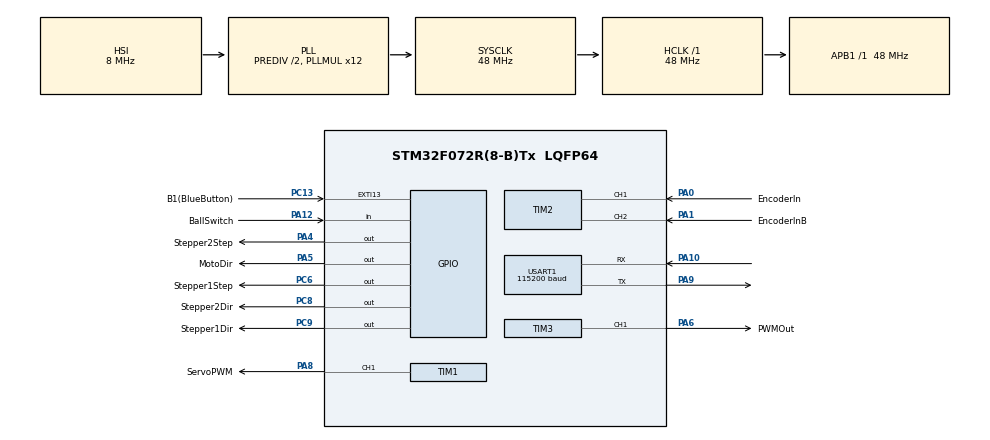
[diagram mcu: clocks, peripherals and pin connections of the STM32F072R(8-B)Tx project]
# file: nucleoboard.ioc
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Dma.Request0=USART1_RX
Dma.USART1_RX.0.Direction=DMA_PERIPH_TO_MEMORY
Dma.USART1_RX.0.Instance=DMA1_Channel3
Dma.USART1_RX.0.MemDataAlignment=DMA_MDATAALIGN_BYTE
Dma.USART1_RX.0.MemInc=DMA_MINC_ENABLE
Dma.USART1_RX.0.Mode=DMA_CIRCULAR
Dma.USART1_RX.0.PeriphDataAlignment=DMA_PDATAALIGN_BYTE
Dma.USART1_RX.0.PeriphInc=DMA_PINC_DISABLE
Dma.USART1_RX.0.Priority=DMA_PRIORITY_LOW
Mcu.Family=STM32F0
Mcu.Name=STM32F072R(8-B)Tx
Mcu.Package=LQFP64
NVIC.DMA1_Channel2_3_IRQn=true\:0\:0\:false\:false\:true\:false\:true\:true
NVIC.EXTI4_15_IRQn=true\:0\:0\:false\:false\:true\:true\:true\:true
PA0.GPIO_Label=EncoderIn
PA0.GPIO_ModeDefaultPP=GPIO_MODE_AF_PP
PA0.GPIO_PuPd=GPIO_PULLUP
PA0.GPIO_Speed=GPIO_SPEED_FREQ_LOW
PA0.Signal=S_TIM2_CH1_ETR
PA1.GPIO_Label=EncoderInB
PA1.GPIO_ModeDefaultPP=GPIO_MODE_AF_PP
PA1.GPIO_PuPd=GPIO_PULLUP
PA1.GPIO_Speed=GPIO_SPEED_FREQ_LOW
PA1.Signal=S_TIM2_CH2
PA10.Mode=Asynchronous
PA10.Signal=USART1_RX
PA12.GPIO_Label=BallSwitch
PA12.Signal=GPIO_Input
PA4.GPIO_Label=Stepper2Step
PA4.Signal=GPIO_Output
PA5.GPIO_Label=MotoDir
PA5.Signal=GPIO_Output
PA6.GPIO_Label=PWMOut
PA6.Signal=S_TIM3_CH1
PA8.GPIO_Label=ServoPWM
PA8.Signal=S_TIM1_CH1
PA9.Mode=Asynchronous
PA9.Signal=USART1_TX
PC13.GPIO_Label=B1(BlueButton)
PC13.GPIO_ModeDefaultEXTI=GPIO_MODE_IT_FALLING
PC13.Signal=GPXTI13
PC6.GPIO_Label=Stepper1Step
PC6.Signal=GPIO_Output
PC8.GPIO_Label=Stepper2Dir
PC8.Signal=GPIO_Output
PC9.GPIO_Label=Stepper1Dir
PC9.Signal=GPIO_Output
PF0-OSC_IN.Mode=HSE-External-Oscillator
PF0-OSC_IN.Signal=RCC_OSC_IN
PF1-OSC_OUT.Mode=HSE-External-Oscillator
PF1-OSC_OUT.Signal=RCC_OSC_OUT
ProjectManager.HeapSize=0x200
ProjectManager.StackSize=0x400
ProjectManager.TargetToolchain=STM32CubeIDE
RCC.AHBFreq_Value=48000000
RCC.APB1Freq_Value=48000000
RCC.APB1TimFreq_Value=48000000
RCC.FLatency-AdvancedSettings=FLASH_LATENCY_1
RCC.HCLKFreq_Value=48000000
RCC.PLLDivider=RCC_PREDIV_DIV2
RCC.PLLMUL=RCC_PLL_MUL12
RCC.SYSCLKFreq_VALUE=48000000
RCC.SYSCLKSource=RCC_SYSCLKSOURCE_PLLCLK
SH.S_TIM1_CH1.0=TIM1_CH1,PWM Generation1 CH1
SH.S_TIM2_CH1_ETR.0=TIM2_CH1,Encoder_Interface
SH.S_TIM2_CH2.0=TIM2_CH2,Encoder_Interface
SH.S_TIM3_CH1.0=TIM3_CH1,PWM Generation1 CH1
TIM1.Channel-PWM\ Generation1\ CH1=TIM_CHANNEL_1
TIM2.AutoReloadPreload=TIM_AUTORELOAD_PRELOAD_ENABLE
TIM2.IC1Filter=10
TIM3.Channel-PWM\ Generation1\ CH1=TIM_CHANNEL_1
USART1.BaudRate=115200
USART1.VirtualMode-Asynchronous=VM_ASYNC
board=NUCLEO-F072RB

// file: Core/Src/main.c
/* USER CODE BEGIN Header */
/**
  ******************************************************************************
  * @file           : main.c
  * @brief          : Main program body
  ******************************************************************************
  * @attention
  *
  * Copyright (c) 2024 STMicroelectronics.
  * All rights reserved.
  *
  * This software is licensed under terms that can be found in the LICENSE file
  * in the root directory of this software component.
  * If no LICENSE file comes with this software, it is provided AS-IS.
  *
  ******************************************************************************
  */
/* USER CODE END Header */
#include "main.h"

TIM_HandleTypeDef htim1;
TIM_HandleTypeDef htim2;
TIM_HandleTypeDef htim3;

UART_HandleTypeDef huart1;
DMA_HandleTypeDef hdma_usart1_rx;

void SystemClock_Config(void);
static void MX_GPIO_Init(void);
static void MX_DMA_Init(void);
static void MX_USART1_UART_Init(void);
static void MX_TIM2_Init(void);
static void MX_TIM3_Init(void);
static void MX_TIM1_Init(void);

/* USER CODE BEGIN 0 */
int64_t encoder_delta_position;
encoder_instance enc_instance;
stepper_motor_instance stepper2;
stepper_motor_instance stepper1;
/* USER CODE END 0 */

int main(void)
{

  /* MCU Configuration--------------------------------------------------------*/

  /* Reset of all peripherals, Initializes the Flash interface and the Systick. */
  HAL_Init();

  /* USER CODE BEGIN Init */
  init_stepper_motor(&stepper2, Stepper2Dir_GPIO_Port, Stepper2Dir_Pin,Stepper2Step_GPIO_Port,Stepper2Step_Pin);
  init_stepper_motor(&stepper1, Stepper1Dir_GPIO_Port, Stepper1Dir_Pin,Stepper1Step_GPIO_Port, Stepper1Step_Pin);
  /* USER CODE END Init */

  /* Configure the system clock */
  SystemClock_Config();

  /* Initialize all configured peripherals */
  MX_GPIO_Init();
  MX_DMA_Init();
  MX_USART1_UART_Init();
  MX_TIM2_Init();
  MX_TIM3_Init();
  MX_TIM1_Init();
  /* USER CODE BEGIN 2 */
  uint8_t message[DATA_LENGTH] = {'\0'};
  uint8_t RxData[DATA_LENGTH];
  int32_t dutyCycle = 0;

  /* USER CODE END 2 */

  /* Infinite loop */
  /* USER CODE BEGIN WHILE */
  while (1)
  {
	  dutyCycle = 0;
	  // measure velocity, position
	  move_stepper_motor(&stepper2, 20);
	  HAL_Delay(200);
	  move_stepper_motor(&stepper1, 20);
	  HAL_Delay(200);
	  move_stepper_motor(&stepper2, -40);
	  HAL_Delay(200);
	  move_stepper_motor(&stepper1, -40);
	  HAL_Delay(200);
	  update_encoder(&enc_instance, &htim2);
	  encoder_delta_position = enc_instance.delta_position;
	//  encoder_delta_position = _HAL_TIM_GET_COUNTER(&htim2);
	  sprintf(message, "%d\r\n", encoder_delta_position); //add detailed message
	  HAL_UART_Transmit(&huart1, message, sizeof(message), UART_TIMEOUT);
	  HAL_UART_Receive_DMA(&huart1, RxData, sizeof(RxData));

	  //check for negative PWM
 	  if(RxData[0]== '-')
 	  {
 		 HAL_GPIO_WritePin(MotoDir_GPIO_Port , MotoDir_Pin, GPIO_PIN_RESET);
 	  }
 	  else
 	  {
 		 HAL_GPIO_WritePin(MotoDir_GPIO_Port , MotoDir_Pin, GPIO_PIN_SET);
 	  }

	  for(uint8_t i = 0; RxData[i] != '\t' && i< sizeof(RxData); i++)
	   {
		  if(RxData[i]== '-')
		  {
			  continue;
		  }
		  else
		  {
			  //change values from string to integer value
			  dutyCycle = dutyCycle*10 + (RxData[i] - '0');
		  }
	   }

	  dutyCycle = abs(dutyCycle);

	  //push PWM value
	  if(dutyCycle < DUTYCYCLE_MAX)
	  {
		  dutyCycle = dutyCycle*DUTYCYCLE_SCALER;
		  TIM3->CCR1 = dutyCycle;
	  }
	  else
	  {
		  TIM3->CCR1 = 0;
	  }
	  HAL_Delay(10);
    /* USER CODE END WHILE */

  }
}

void SystemClock_Config(void)
{
  RCC_OscInitTypeDef RCC_OscInitStruct = {0};
  RCC_ClkInitTypeDef RCC_ClkInitStruct = {0};
  RCC_PeriphCLKInitTypeDef PeriphClkInit = {0};

  /** Initializes the RCC Oscillators according to the specified parameters
  * in the RCC_OscInitTypeDef structure.
  */
  RCC_OscInitStruct.OscillatorType = RCC_OSCILLATORTYPE_HSI;
  RCC_OscInitStruct.HSIState = RCC_HSI_ON;
  RCC_OscInitStruct.HSICalibrationValue = RCC_HSICALIBRATION_DEFAULT;
  RCC_OscInitStruct.PLL.PLLState = RCC_PLL_ON;
  RCC_OscInitStruct.PLL.PLLSource = RCC_PLLSOURCE_HSI;
  RCC_OscInitStruct.PLL.PLLMUL = RCC_PLL_MUL12;
  RCC_OscInitStruct.PLL.PREDIV = RCC_PREDIV_DIV2;
  if (HAL_RCC_OscConfig(&RCC_OscInitStruct) != HAL_OK)
  {
    Error_Handler();
  }

  /** Initializes the CPU, AHB and APB buses clocks
  */
  RCC_ClkInitStruct.ClockType = RCC_CLOCKTYPE_HCLK|RCC_CLOCKTYPE_SYSCLK
                              |RCC_CLOCKTYPE_PCLK1;
  RCC_ClkInitStruct.SYSCLKSource = RCC_SYSCLKSOURCE_PLLCLK;
  RCC_ClkInitStruct.AHBCLKDivider = RCC_SYSCLK_DIV1;
  RCC_ClkInitStruct.APB1CLKDivider = RCC_HCLK_DIV1;

  if (HAL_RCC_ClockConfig(&RCC_ClkInitStruct, FLASH_LATENCY_1) != HAL_OK)
  {
    Error_Handler();
  }
  PeriphClkInit.PeriphClockSelection = RCC_PERIPHCLK_USART1;
  PeriphClkInit.Usart1ClockSelection = RCC_USART1CLKSOURCE_PCLK1;
  if (HAL_RCCEx_PeriphCLKConfig(&PeriphClkInit) != HAL_OK)
  {
    Error_Handler();
  }
}

static void MX_TIM1_Init(void)
{

  TIM_MasterConfigTypeDef sMasterConfig = {0};
  TIM_OC_InitTypeDef sConfigOC = {0};
  TIM_BreakDeadTimeConfigTypeDef sBreakDeadTimeConfig = {0};

  htim1.Instance = TIM1;
  htim1.Init.Prescaler = 0;
  htim1.Init.CounterMode = TIM_COUNTERMODE_UP;
  htim1.Init.Period = 65535;
  htim1.Init.ClockDivision = TIM_CLOCKDIVISION_DIV1;
  htim1.Init.RepetitionCounter = 0;
  htim1.Init.AutoReloadPreload = TIM_AUTORELOAD_PRELOAD_DISABLE;
  if (HAL_TIM_PWM_Init(&htim1) != HAL_OK)
  {
    Error_Handler();
  }
  sMasterConfig.MasterOutputTrigger = TIM_TRGO_RESET;
  sMasterConfig.MasterSlaveMode = TIM_MASTERSLAVEMODE_DISABLE;
  if (HAL_TIMEx_MasterConfigSynchronization(&htim1, &sMasterConfig) != HAL_OK)
  {
    Error_Handler();
  }
  sConfigOC.OCMode = TIM_OCMODE_PWM1;
  sConfigOC.Pulse = 0;
  sConfigOC.OCPolarity = TIM_OCPOLARITY_HIGH;
  sConfigOC.OCNPolarity = TIM_OCNPOLARITY_HIGH;
  sConfigOC.OCFastMode = TIM_OCFAST_DISABLE;
  sConfigOC.OCIdleState = TIM_OCIDLESTATE_RESET;
  sConfigOC.OCNIdleState = TIM_OCNIDLESTATE_RESET;
  if (HAL_TIM_PWM_ConfigChannel(&htim1, &sConfigOC, TIM_CHANNEL_1) != HAL_OK)
  {
    Error_Handler();
  }
  sBreakDeadTimeConfig.OffStateRunMode = TIM_OSSR_DISABLE;
  sBreakDeadTimeConfig.OffStateIDLEMode = TIM_OSSI_DISABLE;
  sBreakDeadTimeConfig.LockLevel = TIM_LOCKLEVEL_OFF;
  sBreakDeadTimeConfig.DeadTime = 0;
  sBreakDeadTimeConfig.BreakState = TIM_BREAK_DISABLE;
  sBreakDeadTimeConfig.BreakPolarity = TIM_BREAKPOLARITY_HIGH;
  sBreakDeadTimeConfig.AutomaticOutput = TIM_AUTOMATICOUTPUT_DISABLE;
  if (HAL_TIMEx_ConfigBreakDeadTime(&htim1, &sBreakDeadTimeConfig) != HAL_OK)
  {
    Error_Handler();
  }
  HAL_TIM_MspPostInit(&htim1);

}

static void MX_TIM2_Init(void)
{

  TIM_Encoder_InitTypeDef sConfig = {0};
  TIM_MasterConfigTypeDef sMasterConfig = {0};

  htim2.Instance = TIM2;
  htim2.Init.Prescaler = 0;
  htim2.Init.CounterMode = TIM_COUNTERMODE_UP;
  htim2.Init.Period = 4294967295;
  htim2.Init.ClockDivision = TIM_CLOCKDIVISION_DIV1;
  htim2.Init.AutoReloadPreload = TIM_AUTORELOAD_PRELOAD_ENABLE;
  sConfig.EncoderMode = TIM_ENCODERMODE_TI1;
  sConfig.IC1Polarity = TIM_ICPOLARITY_RISING;
  sConfig.IC1Selection = TIM_ICSELECTION_DIRECTTI;
  sConfig.IC1Prescaler = TIM_ICPSC_DIV1;
  sConfig.IC1Filter = 10;
  sConfig.IC2Polarity = TIM_ICPOLARITY_RISING;
  sConfig.IC2Selection = TIM_ICSELECTION_DIRECTTI;
  sConfig.IC2Prescaler = TIM_ICPSC_DIV1;
  sConfig.IC2Filter = 0;
  if (HAL_TIM_Encoder_Init(&htim2, &sConfig) != HAL_OK)
  {
    Error_Handler();
  }
  sMasterConfig.MasterOutputTrigger = TIM_TRGO_RESET;
  sMasterConfig.MasterSlaveMode = TIM_MASTERSLAVEMODE_DISABLE;
  if (HAL_TIMEx_MasterConfigSynchronization(&htim2, &sMasterConfig) != HAL_OK)
  {
    Error_Handler();
  }
  /* USER CODE BEGIN TIM2_Init 2 */
  HAL_TIM_Encoder_Start(&htim2, TIM_CHANNEL_ALL);
  /* USER CODE END TIM2_Init 2 */

}

static void MX_TIM3_Init(void)
{

  TIM_MasterConfigTypeDef sMasterConfig = {0};
  TIM_OC_InitTypeDef sConfigOC = {0};

  htim3.Instance = TIM3;
  htim3.Init.Prescaler = 0;
  htim3.Init.CounterMode = TIM_COUNTERMODE_UP;
  htim3.Init.Period = 65535;
  htim3.Init.ClockDivision = TIM_CLOCKDIVISION_DIV1;
  htim3.Init.AutoReloadPreload = TIM_AUTORELOAD_PRELOAD_DISABLE;
  if (HAL_TIM_PWM_Init(&htim3) != HAL_OK)
  {
    Error_Handler();
  }
  sMasterConfig.MasterOutputTrigger = TIM_TRGO_RESET;
  sMasterConfig.MasterSlaveMode = TIM_MASTERSLAVEMODE_DISABLE;
  if (HAL_TIMEx_MasterConfigSynchronization(&htim3, &sMasterConfig) != HAL_OK)
  {
    Error_Handler();
  }
  sConfigOC.OCMode = TIM_OCMODE_PWM1;
  sConfigOC.Pulse = 0;
  sConfigOC.OCPolarity = TIM_OCPOLARITY_HIGH;
  sConfigOC.OCFastMode = TIM_OCFAST_DISABLE;
  if (HAL_TIM_PWM_ConfigChannel(&htim3, &sConfigOC, TIM_CHANNEL_1) != HAL_OK)
  {
    Error_Handler();
  }
  /* USER CODE BEGIN TIM3_Init 2 */
  HAL_TIM_PWM_Start(&htim3, TIM_CHANNEL_1);
  /* USER CODE END TIM3_Init 2 */
  HAL_TIM_MspPostInit(&htim3);

}

static void MX_USART1_UART_Init(void)
{

  huart1.Instance = USART1;
  huart1.Init.BaudRate = 115200;
  huart1.Init.WordLength = UART_WORDLENGTH_8B;
  huart1.Init.StopBits = UART_STOPBITS_1;
  huart1.Init.Parity = UART_PARITY_NONE;
  huart1.Init.Mode = UART_MODE_TX_RX;
  huart1.Init.HwFlowCtl = UART_HWCONTROL_NONE;
  huart1.Init.OverSampling = UART_OVERSAMPLING_16;
  huart1.Init.OneBitSampling = UART_ONE_BIT_SAMPLE_DISABLE;
  huart1.AdvancedInit.AdvFeatureInit = UART_ADVFEATURE_NO_INIT;
  if (HAL_UART_Init(&huart1) != HAL_OK)
  {
    Error_Handler();
  }

}

static void MX_DMA_Init(void)
{

  /* DMA controller clock enable */
  __HAL_RCC_DMA1_CLK_ENABLE();

  /* DMA interrupt init */
  /* DMA1_Channel2_3_IRQn interrupt configuration */
  HAL_NVIC_SetPriority(DMA1_Channel2_3_IRQn, 0, 0);
  HAL_NVIC_EnableIRQ(DMA1_Channel2_3_IRQn);

}

static void MX_GPIO_Init(void)
{
  GPIO_InitTypeDef GPIO_InitStruct = {0};

  /* GPIO Ports Clock Enable */
  __HAL_RCC_GPIOC_CLK_ENABLE();
  __HAL_RCC_GPIOF_CLK_ENABLE();
  __HAL_RCC_GPIOA_CLK_ENABLE();

  /*Configure GPIO pin Output Level */
  HAL_GPIO_WritePin(GPIOA, Stepper2Step_Pin|MotoDir_Pin, GPIO_PIN_RESET);

  /*Configure GPIO pin Output Level */
  HAL_GPIO_WritePin(GPIOC, Stepper1Step_Pin|Stepper2Dir_Pin|Stepper1Dir_Pin, GPIO_PIN_RESET);

  /*Configure GPIO pin : B1_Pin */
  GPIO_InitStruct.Pin = B1_Pin;
  GPIO_InitStruct.Mode = GPIO_MODE_IT_FALLING;
  GPIO_InitStruct.Pull = GPIO_NOPULL;
  HAL_GPIO_Init(B1_GPIO_Port, &GPIO_InitStruct);

  /*Configure GPIO pins : Stepper2Step_Pin MotoDir_Pin */
  GPIO_InitStruct.Pin = Stepper2Step_Pin|MotoDir_Pin;
  GPIO_InitStruct.Mode = GPIO_MODE_OUTPUT_PP;
  GPIO_InitStruct.Pull = GPIO_NOPULL;
  GPIO_InitStruct.Speed = GPIO_SPEED_FREQ_LOW;
  HAL_GPIO_Init(GPIOA, &GPIO_InitStruct);

  /*Configure GPIO pins : Stepper1Step_Pin Stepper2Dir_Pin Stepper1Dir_Pin */
  GPIO_InitStruct.Pin = Stepper1Step_Pin|Stepper2Dir_Pin|Stepper1Dir_Pin;
  GPIO_InitStruct.Mode = GPIO_MODE_OUTPUT_PP;
  GPIO_InitStruct.Pull = GPIO_NOPULL;
  GPIO_InitStruct.Speed = GPIO_SPEED_FREQ_LOW;
  HAL_GPIO_Init(GPIOC, &GPIO_InitStruct);

  /*Configure GPIO pin : BallSwitch_Pin */
  GPIO_InitStruct.Pin = BallSwitch_Pin;
  GPIO_InitStruct.Mode = GPIO_MODE_INPUT;
  GPIO_InitStruct.Pull = GPIO_NOPULL;
  HAL_GPIO_Init(BallSwitch_GPIO_Port, &GPIO_InitStruct);

  /* EXTI interrupt init*/
  HAL_NVIC_SetPriority(EXTI4_15_IRQn, 0, 0);
  HAL_NVIC_EnableIRQ(EXTI4_15_IRQn);

}

void Error_Handler(void)
{
  __disable_irq();
  while (1)
  {
  }
}
